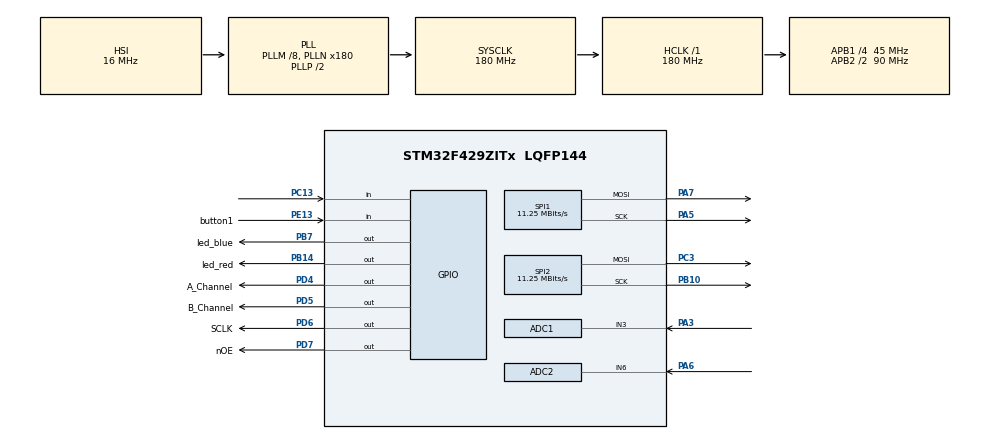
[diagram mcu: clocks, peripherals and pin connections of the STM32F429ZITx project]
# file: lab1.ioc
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ADC1.Channel-0\#ChannelRegularConversion=ADC_CHANNEL_3
ADC1.NbrOfConversionFlag=1
ADC1.Rank-0\#ChannelRegularConversion=1
ADC1.SamplingTime-0\#ChannelRegularConversion=ADC_SAMPLETIME_3CYCLES
ADC1.master=1
ADC2.Channel-14\#ChannelRegularConversion=ADC_CHANNEL_6
ADC2.NbrOfConversionFlag=1
ADC2.Rank-14\#ChannelRegularConversion=1
ADC2.SamplingTime-14\#ChannelRegularConversion=ADC_SAMPLETIME_3CYCLES
Mcu.Family=STM32F4
Mcu.Name=STM32F429ZITx
Mcu.Package=LQFP144
NVIC.PriorityGroup=NVIC_PRIORITYGROUP_4
NVIC.TIM1_UP_TIM10_IRQn=true\:0\:0\:false\:false\:true\:true\:true\:true
PA13.Mode=Serial_Wire
PA13.Signal=SYS_JTMS-SWDIO
PA14.Mode=Serial_Wire
PA14.Signal=SYS_JTCK-SWCLK
PA3.Signal=ADCx_IN3
PA5.Mode=TX_Only_Simplex_Unidirect_Master
PA5.Signal=SPI1_SCK
PA6.Signal=ADCx_IN6
PA7.Mode=TX_Only_Simplex_Unidirect_Master
PA7.Signal=SPI1_MOSI
PB10.Mode=TX_Only_Simplex_Unidirect_Master
PB10.Signal=SPI2_SCK
PB14.GPIO_Label=led_red
PB14.Signal=GPIO_Output
PB7.GPIO_Label=led_blue
PB7.Signal=GPIO_Output
PC13.Signal=GPIO_Input
PC3.Mode=TX_Only_Simplex_Unidirect_Master
PC3.Signal=SPI2_MOSI
PD4.GPIO_Label=A_Channel
PD4.Signal=GPIO_Output
PD5.GPIO_Label=B_Channel
PD5.Signal=GPIO_Output
PD6.GPIO_Label=SCLK
PD6.Signal=GPIO_Output
PD7.GPIO_Label=nOE
PD7.Signal=GPIO_Output
PE13.GPIO_Label=button1
PE13.GPIO_PuPd=GPIO_PULLUP
PE13.Signal=GPIO_Input
PH0/OSC_IN.Mode=HSE-External-Oscillator
PH0/OSC_IN.Signal=RCC_OSC_IN
PH1/OSC_OUT.Mode=HSE-External-Oscillator
PH1/OSC_OUT.Signal=RCC_OSC_OUT
ProjectManager.HeapSize=0x200
ProjectManager.StackSize=0x400
ProjectManager.TargetToolchain=STM32CubeIDE
RCC.48MHZClocksFreq_Value=90000000
RCC.AHBFreq_Value=180000000
RCC.APB1CLKDivider=RCC_HCLK_DIV4
RCC.APB1Freq_Value=45000000
RCC.APB1TimFreq_Value=90000000
RCC.APB2CLKDivider=RCC_HCLK_DIV2
RCC.APB2Freq_Value=90000000
RCC.APB2TimFreq_Value=180000000
RCC.CortexFreq_Value=180000000
RCC.HCLKFreq_Value=180000000
RCC.HSE_VALUE=25000000
RCC.HSI_VALUE=16000000
RCC.LSE_VALUE=32768
RCC.PLLM=8
RCC.PLLN=180
RCC.SYSCLKFreq_VALUE=180000000
RCC.SYSCLKSource=RCC_SYSCLKSOURCE_PLLCLK
RCC.VCOOutputFreq_Value=360000000
SH.ADCx_IN3.0=ADC1_IN3,IN3
SH.ADCx_IN6.0=ADC2_IN6,IN6
SPI1.BaudRatePrescaler=SPI_BAUDRATEPRESCALER_8
SPI1.CalculateBaudRate=11.25 MBits/s
SPI1.Direction=SPI_DIRECTION_2LINES
SPI1.Mode=SPI_MODE_MASTER
SPI1.VirtualType=VM_MASTER
SPI2.BaudRatePrescaler=SPI_BAUDRATEPRESCALER_4
SPI2.CalculateBaudRate=11.25 MBits/s
SPI2.Direction=SPI_DIRECTION_2LINES
SPI2.Mode=SPI_MODE_MASTER
SPI2.VirtualType=VM_MASTER
TIM1.Period=4500-1
TIM1.Prescaler=1000-1
VP_TIM1_VS_ClockSourceINT.Mode=Internal
board=custom

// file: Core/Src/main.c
/* USER CODE BEGIN Header */
/**
  ******************************************************************************
  * @file           : main.c
  * @brief          : Main program body
  ******************************************************************************
  * @attention
  *
  * Copyright (c) 2023 STMicroelectronics.
  * All rights reserved.
  *
  * This software is licensed under terms that can be found in the LICENSE file
  * in the root directory of this software component.
  * If no LICENSE file comes with this software, it is provided AS-IS.
  *
  ******************************************************************************
  */
/* USER CODE END Header */
#include "main.h"
#include "adc.h"
#include "spi.h"
#include "tim.h"
#include "gpio.h"

/* USER CODE BEGIN Includes */
#include "P10.h"
/* USER CODE END Includes */

/* USER CODE BEGIN PV */
uint16_t buttonState;
uint16_t a = 16;
uint16_t b = 8;
uint16_t a1 = 0;
uint16_t b1 = 0;
uint16_t m = 2;
uint16_t n = 14;
uint16_t m1 = 3;
uint16_t n1 = 13;

uint16_t p = 0;
uint16_t o = 15;
uint16_t p1 = 31;
uint16_t o1 = 0;

uint16_t flag = 0;
uint16_t flag1 = 0;
uint16_t z;
uint16_t red;
uint16_t green;
uint16_t buttonstate;
uint16_t button = 0;
uint16_t c, count, delay, state2, delay1, delay2;

uint16_t Tim1IRQCount = 0;
uint16_t  AdcX = 0;
uint16_t  AdcY = 0;
Pixel pix[1];
Pixel pixleftUp;
Pixel pixrightBottom;
Pixel objleftUp;
Pixel objrightBottom;
Pixel objleftUp1;
Pixel objrightBottom1;
Pixel cubeleftUp;
Pixel cuberightBottom;
uint8_t data[16];

float Hz;
volatile uint32_t timer1=0;
/* USER CODE END PV */

void SystemClock_Config(void);

int main(void)
{
  /* USER CODE BEGIN 1 */
   //uint8_t pData = 0b11111110;
  /* USER CODE END 1 */

  /* MCU Configuration--------------------------------------------------------*/

  /* Reset of all peripherals, Initializes the Flash interface and the Systick. */
  HAL_Init();

  /* Configure the system clock */
  SystemClock_Config();

  /* Initialize all configured peripherals */
  MX_GPIO_Init();
  MX_ADC1_Init();
  MX_TIM1_Init();
  MX_ADC2_Init();
  MX_SPI1_Init();
  MX_SPI2_Init();
  /* USER CODE BEGIN 2 */
  HAL_TIM_Base_Start_IT(&htim1);
  /* USER CODE END 2 */

  /* Infinite loop */
  /* USER CODE BEGIN WHILE */

  while (1)
  {{
	  buttonstate = HAL_GPIO_ReadPin(button1_GPIO_Port, button1_Pin);

	  HAL_ADC_Start_IT(&hadc1);
	  HAL_ADC_Start_IT(&hadc2);
	  HAL_ADC_PollForConversion(&hadc1, 10);
	  HAL_ADC_PollForConversion(&hadc2, 10);
	  AdcX = HAL_ADC_GetValue(&hadc1);
	  AdcY = HAL_ADC_GetValue(&hadc2);

	  pix[0].x = a;
	  pix[0].y = b;

	  objleftUp.x = m;
	  objleftUp.y = n;

	  objrightBottom.x = m1;
	  objrightBottom.y = n1;

	  cubeleftUp.x = p;
	  cubeleftUp.y = o;

	  cuberightBottom.x = p1;
	  cuberightBottom.y = o1;

	  if(flag == 1)
	  {
        m = a;
        n = b;
        m1 = a+1;
        n1 = b-1;
	  }

      if(b < b1 && a > a1)
      {
    	  pixleftUp.x = a1;
    	  pixleftUp.y = b1;

    	  pixrightBottom.x = a;
    	  pixrightBottom.y = b;

    	  if(a1 < m && b1 > n && a > m1 && b < n1 && buttonstate == 0)
    	  {
    		  flag = 1;
    	  }
      }

      if(b > b1 && a > a1)
      {
    	  pixleftUp.x = a1;
    	  pixleftUp.y = b;

    	  pixrightBottom.x = a;
    	  pixrightBottom.y = b1;

    	  if(a1 < m && b > n && a > m1 && b1 < n1 && buttonstate == 0)
    	  {
    		  flag = 1;
    	  }
      }

      if(b > b1 && a < a1)
      {
    	  pixleftUp.x = a;
    	  pixleftUp.y = b;

    	  pixrightBottom.x = a1;
    	  pixrightBottom.y = b1;

    	  if(a < m && b > n && a1 > m1 && b1 < n1 && buttonstate == 0)
    	  {
    		  flag = 1;
    	  }
      }

      if(b < b1 && a < a1)
      {
    	  pixleftUp.x = a;
    	  pixleftUp.y = b1;

    	  pixrightBottom.x = a1;
    	  pixrightBottom.y = b;

    	  if(a < m && b1 > n && a1 > m1 && b < n1 && buttonstate == 0)
    	  {
    		  flag = 1;
    	  }
      }

	  delay1++;

	   if(buttonstate == 0 && button == 0 && z == 0)
	      {
		    if(delay1 > 2000)
		    {
		      button=1;
	    	  a1 = a;
	    	  b1 = b;
		      delay1 = 0;
		    }

	      }

	   if(buttonstate == 1 && button == 0)
	      {
	    	  a1 = a;
	    	  b1 = b;
	      }

	   if(buttonstate == 1 && button == 1 && z == 0)
	  	      {
      		    if(delay1 > 2000)
      		    {
                  z = 1;
      		      delay1 = 0;
      		    }
	  	      }

	   if(buttonstate == 0 && button == 1 && z == 1)
	      {
 		    if(delay1 > 2000)
 		    {
 		      button=0;
 		      a1 = a;
 		      b1 = b;
 		      z = 0;
 		      delay1 = 0;
 		    }
	      }

	   if(buttonstate == 0 && ((a == m && b == n) || (a == m1 && b == n1) || (a == m1 && b == (n1 + 1)) || (a == (m1 - 1) && b == n1)) && flag == 0)
	   {
		   button = 0;
	       a1 = a;
	       b1 = b;
		   flag = 1;
		   HAL_Delay(500);
	   }

	   if(buttonstate == 1 && ((a == m && b == n) || (a == m1 && b == n1) || (a == m1 && b == (n1 + 1)) || (a == (m1 - 1) && b == n1)) && flag == 1 && flag1 ==0)
	  	   {
		   flag1 = 1;
		   button = 0;
	       a1 = a;
	       b1 = b;
	  	   HAL_Delay(200);
	  	   }
	   if(buttonstate == 0 && ((a == m && b == n) || (a == m1 && b == n1) || (a == m1 && b == (n1 + 1)) || (a == (m1 - 1) && b == n1)) && flag1 == 1)
	   	  	   {
	   		   flag = 0;
	   		   flag1 = 0;
			   button = 0;
		       a1 = a;
		       b1 = b;
	   	  	   HAL_Delay(200);
	   	  	   }

	           delay2++;

	          clearScreen((uint8_t*)data);
	  	      if(button == 1)
	  	      {
	  	    	  drawRect(pixleftUp, pixrightBottom, (uint8_t*)data, P10AB_11);
	  	      }
	  	      if(flag == 1)
	  	      {
		  	      drawRect(objleftUp, objrightBottom, (uint8_t*)data, P10AB_11);
		  	      drawRect(cubeleftUp, cuberightBottom, (uint8_t*)data, P10AB_11);
	  	      }
	  	      if(flag == 0)
	  	      {
		  	      drawRect(objleftUp, objrightBottom, (uint8_t*)data, P10AB_11);
	  	      }
	  		  drawPixels((Pixel*)pix, 1, (uint8_t*)data, P10AB_11);
	  		  HAL_GPIO_WritePin(GPIOD, nOE_Pin, GPIO_PIN_RESET);
	  		  HAL_GPIO_WritePin(GPIOD, SCLK_Pin, GPIO_PIN_RESET);
	  		  HAL_GPIO_WritePin(GPIOD, A_Channel_Pin, GPIO_PIN_SET);
	  		  HAL_GPIO_WritePin(GPIOD, B_Channel_Pin, GPIO_PIN_SET);
	  		  HAL_SPI_Transmit(&hspi2, (uint8_t*)data, 16, 10);
	  		  HAL_GPIO_WritePin(GPIOD, SCLK_Pin, GPIO_PIN_SET);
	  		  HAL_GPIO_WritePin(GPIOD, nOE_Pin, GPIO_PIN_SET);

	  		  clearScreen((uint8_t*)data);
	  	      if(button == 1)
	  	      {
	  	    	  drawRect(pixleftUp, pixrightBottom, (uint8_t*)data, P10AB_10);
	  	      }
	  	      if(flag == 1)
	  	      {
		  	      drawRect(objleftUp, objrightBottom, (uint8_t*)data, P10AB_10);
		  	      drawRect(cubeleftUp, cuberightBottom, (uint8_t*)data, P10AB_10);
	  	      }
	  	      if(flag == 0)
	  	      {
		  	      drawRect(objleftUp, objrightBottom, (uint8_t*)data, P10AB_10);
	  	      }
	  		  drawPixels((Pixel*)pix, 1, (uint8_t*)data, P10AB_10);
	  		  HAL_GPIO_WritePin(GPIOD, nOE_Pin, GPIO_PIN_RESET);
	  		  HAL_GPIO_WritePin(GPIOD, SCLK_Pin, GPIO_PIN_RESET);
	  		  HAL_GPIO_WritePin(GPIOD, A_Channel_Pin, GPIO_PIN_RESET);
	  		  HAL_GPIO_WritePin(GPIOD, B_Channel_Pin, GPIO_PIN_SET);
	  		  HAL_SPI_Transmit(&hspi2, (uint8_t*)data, 16, 10);
	  		  HAL_GPIO_WritePin(GPIOD, SCLK_Pin, GPIO_PIN_SET);
	  		  HAL_GPIO_WritePin(GPIOD, nOE_Pin, GPIO_PIN_SET);

	  		  clearScreen((uint8_t*)data);
	  	      if(button == 1)
	  	      {
	  	    	  drawRect(pixleftUp, pixrightBottom, (uint8_t*)data, P10AB_01);
	  	      }
	  	      if(flag == 1)
	  	      {
		  	      drawRect(objleftUp, objrightBottom, (uint8_t*)data, P10AB_01);
		  	      drawRect(cubeleftUp, cuberightBottom, (uint8_t*)data, P10AB_01);
	  	      }
	  	      if(flag == 0)
	  	      {
		  	      drawRect(objleftUp, objrightBottom, (uint8_t*)data, P10AB_01);
	  	      }
	  		  drawPixels((Pixel*)pix, 1, (uint8_t*)data, P10AB_01);
	  		  HAL_GPIO_WritePin(GPIOD, nOE_Pin, GPIO_PIN_RESET);
	  		  HAL_GPIO_WritePin(GPIOD, SCLK_Pin, GPIO_PIN_RESET);
	  		  HAL_GPIO_WritePin(GPIOD, A_Channel_Pin, GPIO_PIN_SET);
	  		  HAL_GPIO_WritePin(GPIOD, B_Channel_Pin, GPIO_PIN_RESET);
	  		  HAL_SPI_Transmit(&hspi2, (uint8_t*)data, 16, 10);
	  		  HAL_GPIO_WritePin(GPIOD, SCLK_Pin, GPIO_PIN_SET);
	  		  HAL_GPIO_WritePin(GPIOD, nOE_Pin, GPIO_PIN_SET);

	  		  clearScreen((uint8_t*)data);
	  	      if(button == 1)
	  	      {
	  	    	  drawRect(pixleftUp, pixrightBottom, (uint8_t*)data, P10AB_00);
	  	      }
	  	      if(flag == 1)
	  	      {
		  	      drawRect(objleftUp, objrightBottom, (uint8_t*)data, P10AB_00);
		  	      drawRect(cubeleftUp, cuberightBottom, (uint8_t*)data, P10AB_00);
	  	      }
	  	      if(flag == 0)
	  	      {
		  	      drawRect(objleftUp, objrightBottom, (uint8_t*)data, P10AB_00);
	  	      }
	  		  drawPixels((Pixel*)pix, 1, (uint8_t*)data, P10AB_00);
	  		  HAL_GPIO_WritePin(GPIOD, nOE_Pin, GPIO_PIN_RESET);
	  		  HAL_GPIO_WritePin(GPIOD, SCLK_Pin, GPIO_PIN_RESET);
	  		  HAL_GPIO_WritePin(GPIOD, A_Channel_Pin, GPIO_PIN_RESET);
	  		  HAL_GPIO_WritePin(GPIOD, B_Channel_Pin, GPIO_PIN_RESET);
	  		  HAL_SPI_Transmit(&hspi2, (uint8_t*)data, 16, 10);
	  		  HAL_GPIO_WritePin(GPIOD, SCLK_Pin, GPIO_PIN_SET);
	  		  HAL_GPIO_WritePin(GPIOD, nOE_Pin, GPIO_PIN_SET);

      delay++;

      if (a == 32){
    	  a=31;
      }
      if (b == 16){
    	  b=15;
      }
      if (a > 100){
    	  a=0;
      }
      if (b > 100){
    	  b=0;
      }
      if((AdcX > 3180) && (AdcY < 3235 && AdcY > 2700)){ // вправо
      if(delay > 1000)
      {
    	  a = a+1;
    	  delay = 0;
      }
      }
      if((AdcX < 2700) && (AdcY < 3235 && AdcY > 2700)){ // влево
          if(delay > 1000)
          {
        	  a = a-1;
        	  delay = 0;
          }
      }
      if((AdcX < 3180 && AdcX > 2700) && (AdcY < 2700)){ // вверх
          if(delay > 1000)
          {
        	  b = b+1;
        	  delay = 0;
          }
      }
      if((AdcX < 3180 && AdcX > 2700) && (AdcY > 3235)){ // вниз
          if(delay > 1000)
          {
        	  b = b-1;
        	  delay = 0;
          }
      }
      if((AdcX > 3180) && (AdcY < 2700)){ // вправо-вверх
          if(delay > 1000)
          {
              a = a+1;
              b = b+1;
        	  delay = 0;
          }
      }
      if((AdcX < 2700) && (AdcY < 2700)){ // влево-вверх
          if(delay > 1000)
          {
              a = a-1;
              b = b+1;
        	  delay = 0;
          }
      }
      if((AdcX > 3180) && (AdcY > 3235)){ // вправо-вниз
          if(delay > 1000)
          {
              a = a+1;
              b = b-1;
        	  delay = 0;
          }
      }
      if((AdcX < 2700) && (AdcY > 3235)){ // влево-вниз
          if(delay > 1000)
          {
              a = a-1;
              b = b-1;
        	  delay = 0;
          }
      }
	  }

    /* USER CODE END WHILE */

  }
}

void SystemClock_Config(void)
{
  RCC_OscInitTypeDef RCC_OscInitStruct = {0};
  RCC_ClkInitTypeDef RCC_ClkInitStruct = {0};

  /** Configure the main internal regulator output voltage
  */
  __HAL_RCC_PWR_CLK_ENABLE();
  __HAL_PWR_VOLTAGESCALING_CONFIG(PWR_REGULATOR_VOLTAGE_SCALE1);

  /** Initializes the RCC Oscillators according to the specified parameters
  * in the RCC_OscInitTypeDef structure.
  */
  RCC_OscInitStruct.OscillatorType = RCC_OSCILLATORTYPE_HSI;
  RCC_OscInitStruct.HSIState = RCC_HSI_ON;
  RCC_OscInitStruct.HSICalibrationValue = RCC_HSICALIBRATION_DEFAULT;
  RCC_OscInitStruct.PLL.PLLState = RCC_PLL_ON;
  RCC_OscInitStruct.PLL.PLLSource = RCC_PLLSOURCE_HSI;
  RCC_OscInitStruct.PLL.PLLM = 8;
  RCC_OscInitStruct.PLL.PLLN = 180;
  RCC_OscInitStruct.PLL.PLLP = RCC_PLLP_DIV2;
  RCC_OscInitStruct.PLL.PLLQ = 4;
  if (HAL_RCC_OscConfig(&RCC_OscInitStruct) != HAL_OK)
  {
    Error_Handler();
  }

  /** Activate the Over-Drive mode
  */
  if (HAL_PWREx_EnableOverDrive() != HAL_OK)
  {
    Error_Handler();
  }

  /** Initializes the CPU, AHB and APB buses clocks
  */
  RCC_ClkInitStruct.ClockType = RCC_CLOCKTYPE_HCLK|RCC_CLOCKTYPE_SYSCLK
                              |RCC_CLOCKTYPE_PCLK1|RCC_CLOCKTYPE_PCLK2;
  RCC_ClkInitStruct.SYSCLKSource = RCC_SYSCLKSOURCE_PLLCLK;
  RCC_ClkInitStruct.AHBCLKDivider = RCC_SYSCLK_DIV1;
  RCC_ClkInitStruct.APB1CLKDivider = RCC_HCLK_DIV4;
  RCC_ClkInitStruct.APB2CLKDivider = RCC_HCLK_DIV2;

  if (HAL_RCC_ClockConfig(&RCC_ClkInitStruct, FLASH_LATENCY_5) != HAL_OK)
  {
    Error_Handler();
  }
}

void Error_Handler(void)
{
  __disable_irq();
  while (1)
  {
  }
}
